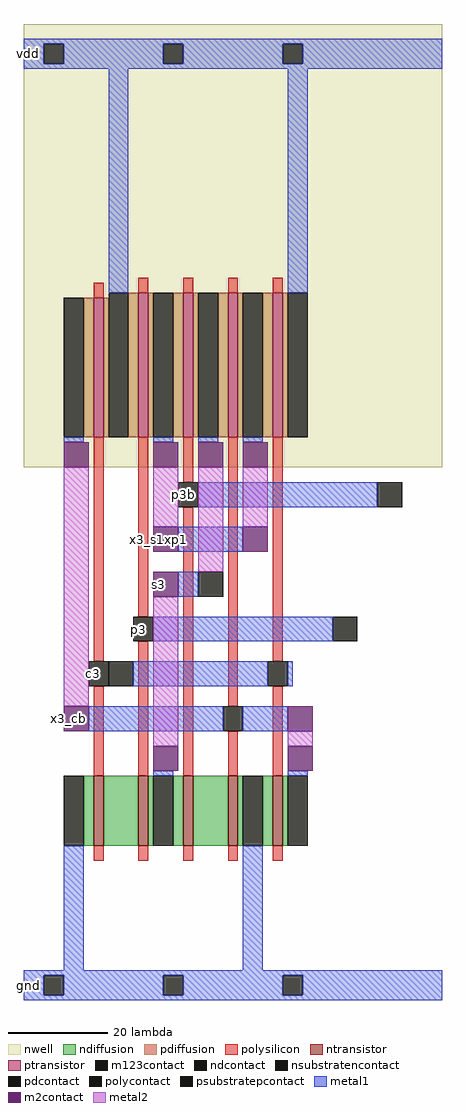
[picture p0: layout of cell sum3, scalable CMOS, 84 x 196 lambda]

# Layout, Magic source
magic
tech scmos
<< nwell >>
rect 0 107 84 196
<< ntransistor >>
rect 14 31 16 45
rect 23 31 25 45
rect 32 31 34 45
rect 41 31 43 45
rect 50 31 52 45
<< ptransistor >>
rect 14 113 16 141
rect 23 113 25 142
rect 32 113 34 142
rect 41 113 43 142
rect 50 113 52 142
<< ndiffusion >>
rect 12 31 14 45
rect 16 31 23 45
rect 25 31 26 45
rect 30 31 32 45
rect 34 31 41 45
rect 43 31 44 45
rect 48 31 50 45
rect 52 31 53 45
<< pdiffusion >>
rect 12 113 14 141
rect 16 113 17 141
rect 21 113 23 142
rect 25 113 26 142
rect 30 113 32 142
rect 34 113 35 142
rect 39 113 41 142
rect 43 113 44 142
rect 48 113 50 142
rect 52 113 53 142
<< ndcontact >>
rect 8 31 12 45
rect 26 31 30 45
rect 44 31 48 45
rect 53 31 57 45
<< pdcontact >>
rect 8 113 12 141
rect 17 113 21 142
rect 26 113 30 142
rect 35 113 39 142
rect 44 113 48 142
rect 53 113 57 142
<< psubstratepcontact >>
rect 4 1 8 5
rect 28 1 32 5
rect 52 1 56 5
<< nsubstratencontact >>
rect 4 188 8 192
rect 28 188 32 192
rect 52 188 56 192
<< polysilicon >>
rect 14 141 16 144
rect 23 142 25 145
rect 32 142 34 145
rect 41 142 43 145
rect 50 142 52 145
rect 14 68 16 113
rect 23 77 25 113
rect 32 104 34 113
rect 14 45 16 63
rect 23 45 25 72
rect 32 45 34 99
rect 41 59 43 113
rect 50 68 52 113
rect 41 45 43 54
rect 50 45 52 63
rect 14 28 16 31
rect 23 28 25 31
rect 32 28 34 31
rect 41 28 43 31
rect 50 28 52 31
<< polycontact >>
rect 31 99 35 104
rect 22 72 26 77
rect 13 63 17 68
rect 49 63 53 68
rect 40 54 44 59
<< metal1 >>
rect 0 192 84 193
rect 0 188 4 192
rect 8 188 28 192
rect 32 188 52 192
rect 56 188 84 192
rect 0 187 84 188
rect 17 142 21 187
rect 53 142 57 187
rect 8 112 12 113
rect 26 112 30 113
rect 35 112 39 113
rect 44 112 48 113
rect 35 99 71 104
rect 31 90 44 95
rect 31 81 35 86
rect 26 72 62 77
rect 22 63 49 68
rect 53 63 54 68
rect 13 54 40 59
rect 44 54 53 59
rect 26 45 30 46
rect 53 45 57 46
rect 8 6 12 31
rect 44 6 48 31
rect 0 5 84 6
rect 0 1 4 5
rect 8 1 28 5
rect 32 1 52 5
rect 56 1 84 5
rect 0 0 84 1
<< m2contact >>
rect 8 107 13 112
rect 26 107 31 112
rect 35 107 40 112
rect 44 107 49 112
rect 26 90 31 95
rect 44 90 49 95
rect 26 81 31 86
rect 8 54 13 59
rect 53 54 58 59
rect 26 46 31 51
rect 53 46 58 51
<< metal2 >>
rect 8 59 13 107
rect 26 95 31 107
rect 35 86 40 107
rect 44 95 49 107
rect 26 51 31 81
rect 53 51 58 54
<< m123contact >>
rect 71 99 76 104
rect 35 81 40 86
rect 17 63 22 68
rect 62 72 67 77
<< labels >>
rlabel metal1 13 63 15 68 0 c3
port 1 nsew
rlabel metal1 22 72 24 77 0 p3
port 2 nsew
rlabel metal1 31 99 33 104 0 p3b
port 3 nsew
rlabel m2contact 26 81 28 86 0 s3
port 4 nsew
rlabel m2contact 8 54 10 59 0 x3_cb
rlabel m2contact 26 90 28 95 0 x3_s1xp1
rlabel metal1 0 187 2 193 0 vdd
port 5 nsew
rlabel metal1 0 0 2 6 0 gnd
port 6 nsew
<< end >>
